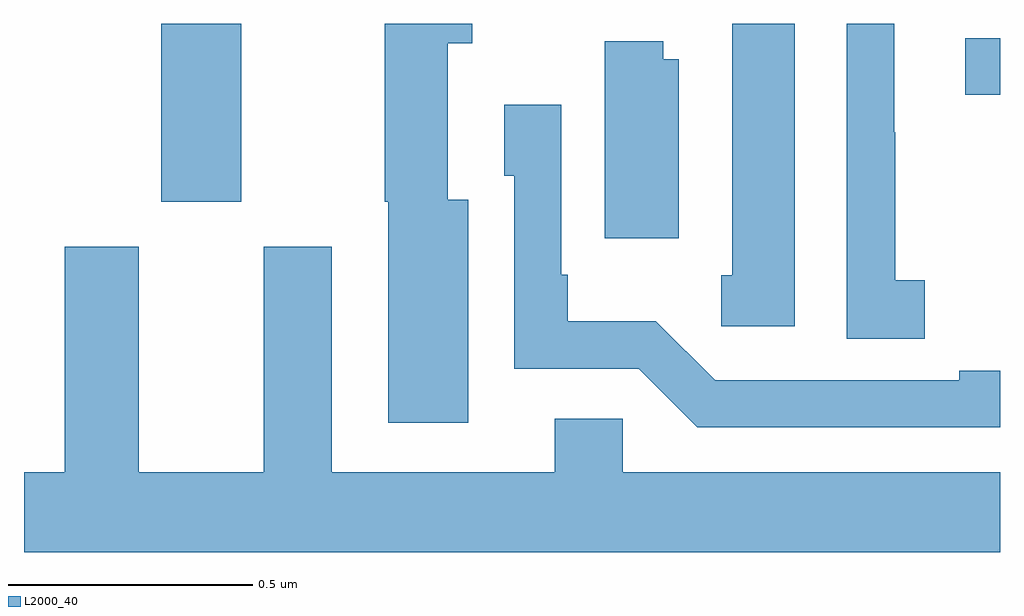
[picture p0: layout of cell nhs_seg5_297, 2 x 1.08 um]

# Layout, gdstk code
import gdstk
lib = gdstk.Library(unit=1e-6, precision=1e-09)
def R(c, l, rs):  # rectangles x0, y0, x1, y1
    for r in rs: c.add(gdstk.rectangle(r[:2], r[2:], *l))
def P(c, l, *ps):  # polygons
    for p in ps: c.add(gdstk.Polygon(p, *l))
L2000_40 = (2000, 40)

nhs_seg5_297 = lib.new_cell('nhs_seg5_297')
R(nhs_seg5_297, L2000_40, [(114.281,901.434,114.445,901.799), (115.929,901.654,116,901.769)])
P(nhs_seg5_297, L2000_40, [(115.579,901.799),(115.451,901.799),(115.451,901.284),(115.429,901.284),(115.429,901.179),(115.579,901.179)],
  [(115.846,901.273),(115.785,901.273),(115.785,901.577),(115.783,901.577),(115.783,901.799),(115.686,901.799),(115.686,901.153),(115.846,901.153)],
  [(114.91,901.438),(114.868,901.438),(114.868,901.759),(114.919,901.759),(114.919,901.799),(114.739,901.799),(114.739,901.434),(114.746,901.434),(114.746,900.981),(114.91,900.981)],
  [(115.342,901.726),(115.31,901.726),(115.31,901.763),(115.19,901.763),(115.19,901.359),(115.342,901.359)],
  [(116,901.088),(115.916,901.088),(115.916,901.068),(115.416,901.068),(115.295,901.189),(115.114,901.189),(115.114,901.285),(115.101,901.285),(115.101,901.633),(114.984,901.633),(114.984,901.488),(115.005,901.488),(115.005,901.092),(115.26,901.092),(115.38,900.972),(116,900.972)],
  [(116,900.88),(115.227,900.88),(115.227,900.99),(115.088,900.99),(115.088,900.88),(114.631,900.88),(114.631,901.342),(114.491,901.342),(114.491,900.88),(114.235,900.88),(114.235,901.342),(114.083,901.342),(114.083,900.88),(114,900.88),(114,900.716),(116,900.716)])

lib.write_gds('nhs_seg5_297.gds')
